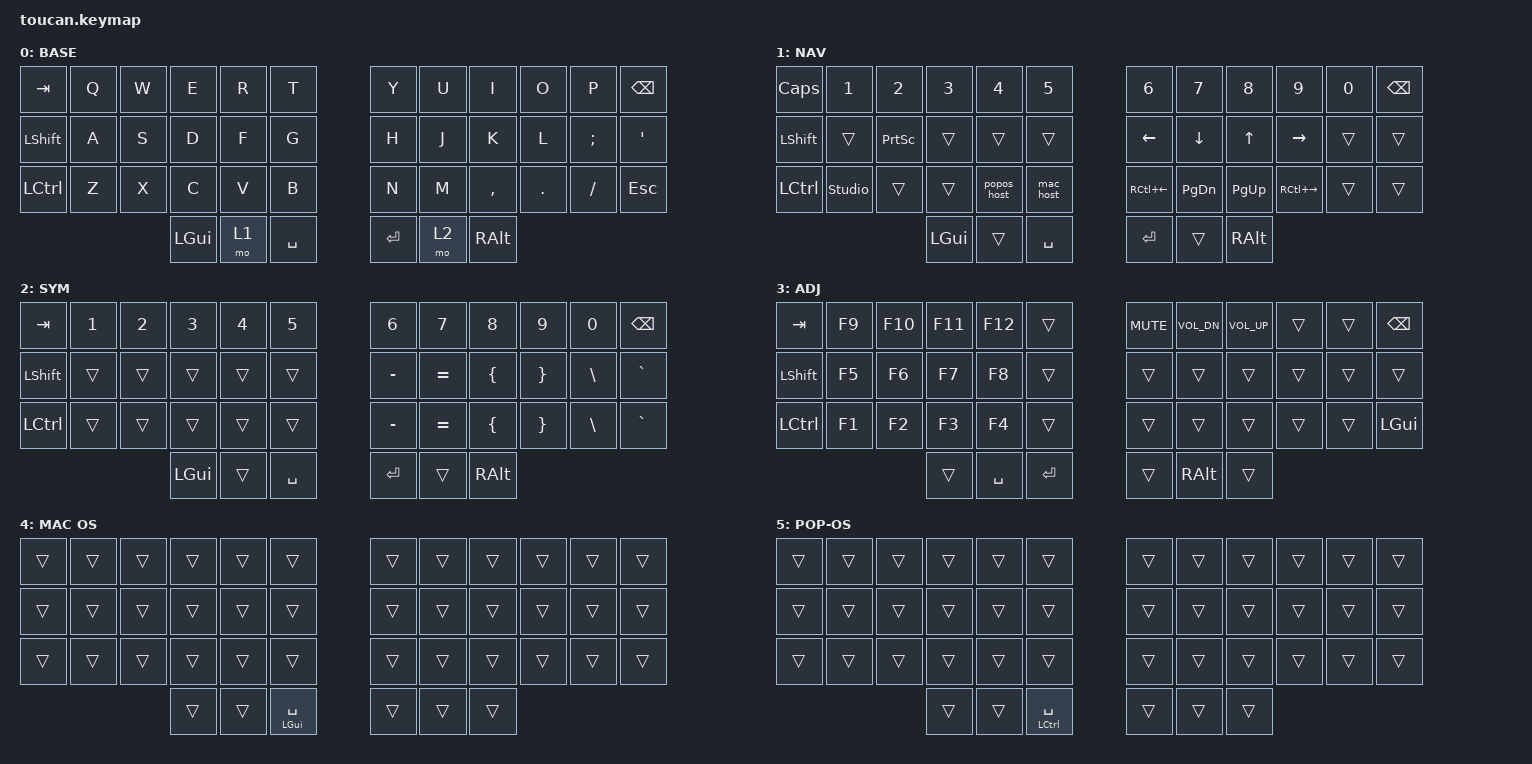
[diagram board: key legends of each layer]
#include <behaviors.dtsi>
#include <dt-bindings/zmk/keys.h>
#include <dt-bindings/zmk/bt.h>
#include <dt-bindings/zmk/outputs.h>

#define BASE 0
#define NAV  1
#define SYM  2
#define ADJ  3
#define MAC 4
#define POPOS 5

/ {
    conditional_layers {
        compatible = "zmk,conditional-layers";
        tri_layer {
            if-layers = <1 2>;
            then-layer = <3>;
        };
    };

    macros {
        popos_host: popos_host {
            compatible = "zmk,behavior-macro";
            #binding-cells = <0>;
            display-name = "PopOS Host";

            bindings = <&bt BT_SEL 0>, <&to POPOS>;
        };

        mac_host: mac_host {
            compatible = "zmk,behavior-macro";
            #binding-cells = <0>;
            display-name = "Mac Host";

            bindings = <&bt BT_SEL 1>, <&to MAC>;
        };
    };

    keymap {
        compatible = "zmk,keymap";

        base {
            display-name = "BASE";
            bindings = <
                &kp TAB   &kp Q &kp W &kp E &kp R &kp T   &kp Y &kp U  &kp I     &kp O   &kp P    &kp BSPC
                &kp LSHFT &kp A &kp S &kp D &kp F &kp G   &kp H &kp J  &kp K     &kp L   &kp SEMI &kp SQT
                &kp LCTRL &kp Z &kp X &kp C &kp V &kp B   &kp N &kp M  &kp COMMA &kp DOT &kp FSLH &kp ESC
                                        &kp LGUI &mo 1 &kp SPACE   &kp RET &mo 2 &kp RALT
            >;
        };

        nav {
            display-name = "NAV";
            bindings = <
                &kp CAPS   &kp N1          &kp N2       &kp N3       &kp N4       &kp N5        &kp N6       &kp N7    &kp N8    &kp N9        &kp N0 &kp BSPC
                &kp LSHFT  &trans          &kp PSCRN    &trans       &trans        &trans       &kp LEFT     &kp DOWN  &kp UP    &kp RIGHT     &trans &trans
                &kp LCTRL  &studio_unlock  &trans       &trans       &popos_host   &mac_host    &kp RC(LEFT) &kp PG_DN &kp PG_UP &kp RC(RIGHT) &trans &trans
                                                                    &kp LGUI &trans &kp SPACE   &kp RET &trans &kp RALT
            >;
        };

        sym {
            display-name = "SYM";
            bindings = <
                &kp TAB   &kp N1    &kp N2    &kp N3    &kp N4    &kp N5      &kp N6    &kp N7    &kp N8    &kp N9    &kp N0   &kp BSPC
                &kp LSHFT &trans    &trans    &trans    &trans    &trans      &kp MINUS &kp EQUAL &kp LBRC  &kp RBRC  &kp BSLH &kp GRAVE
                &kp LCTRL &trans    &trans    &trans    &trans    &trans      &kp MINUS &kp EQUAL &kp LBRC  &kp RBRC  &kp BSLH &kp GRAVE
                                              &kp LGUI &trans &kp SPACE       &kp RET &trans &kp RALT
            >;
        };

        adj {
            display-name = "ADJ";
            bindings = <
                &kp TAB    &kp F9 &kp F10 &kp F11 &kp F12 &trans   &kp C_MUTE  &kp C_VOL_DN &kp C_VOL_UP &trans &trans &kp BSPC
                &kp LSHFT  &kp F5 &kp F6  &kp F7  &kp F8  &trans   &trans      &trans       &trans       &trans &trans &trans
                &kp LCTRL  &kp F1 &kp F2  &kp F3  &kp F4  &trans   &trans      &trans       &trans       &trans &trans &kp LGUI
                                    &trans &kp SPACE &kp RET      &trans &kp RALT &trans
            >;
        };

        mac {
            display-name = "MAC OS";
            bindings = <
                &trans &trans &trans &trans &trans &trans   &trans &trans &trans &trans &trans &trans
                &trans &trans &trans &trans &trans &trans   &trans &trans &trans &trans &trans &trans
                &trans &trans &trans &trans &trans &trans   &trans &trans &trans &trans &trans &trans
                                &trans &trans &mt LGUI SPACE   &trans &trans &trans
            >;
        };

        popos {
            display-name = "POP-OS";
            bindings = <
                &trans &trans &trans &trans &trans &trans   &trans &trans &trans &trans &trans &trans
                &trans &trans &trans &trans &trans &trans   &trans &trans &trans &trans &trans &trans
                &trans &trans &trans &trans &trans &trans   &trans &trans &trans &trans &trans &trans
                                &trans &trans &mt LCTRL SPACE  &trans &trans &trans
            >;
        };

        extra_1 {
                status = "reserved";
        };
    };
};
